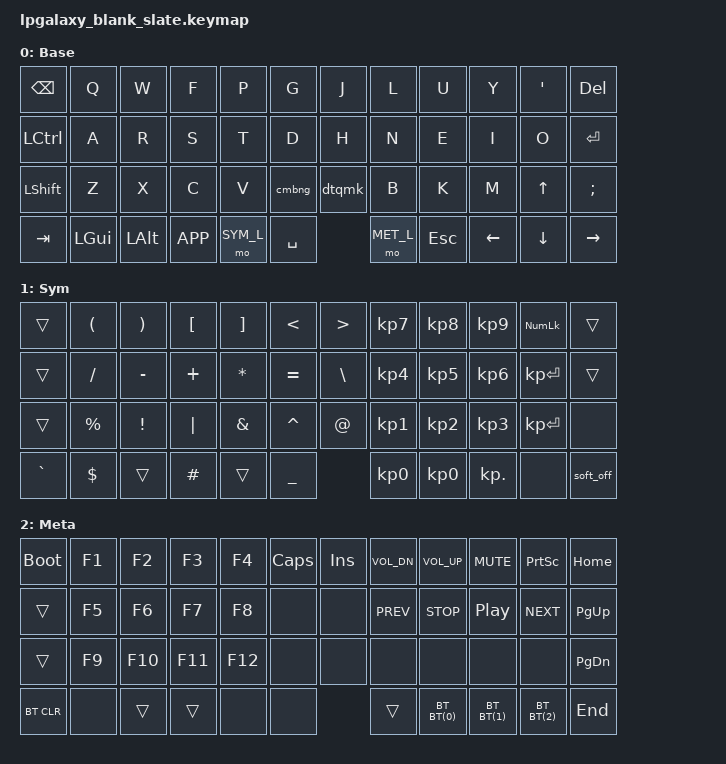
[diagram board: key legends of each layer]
/*
 * Copyright (c) 2022 Pete Johanson
 *
 * SPDX-License-Identifier: MIT
 */
#include <behaviors.dtsi>
#include <dt-bindings/zmk/keys.h>
#include <dt-bindings/zmk/bt.h>
#include <dt-bindings/zmk/outputs.h>
#define SYM_L 1
#define MET_L 2
#define BT(n) BT_SEL n
/ {
    behaviors {
        cmbng: comma_bang {
            compatible = "zmk,behavior-mod-morph";
            #binding-cells = <0>;
            bindings = <&kp COMMA>, <&kp EXCL>;
            mods = <(MOD_LSFT)>;
        };
        dtqmk: dot_question {
            compatible = "zmk,behavior-mod-morph";
            #binding-cells = <0>;
            bindings = <&kp DOT>, <&kp QMARK>;
            mods = <(MOD_LSFT)>;
        };
    };
    chosen {
       zmk,physical-layout = &layout_ortho_4x12_1x2u;
    };
    keymap {
        compatible = "zmk,keymap";
        base_layer {
            label = "Base";
            bindings = <
 &kp BSPC  &kp Q    &kp W    &kp F     &kp P      &kp G      &kp J     &kp L     &kp U   &kp Y      &kp SQT       &kp DEL
 &kp LCTRL &kp A    &kp R    &kp S     &kp T      &kp D      &kp H     &kp N     &kp E   &kp I      &kp O         &kp RET
 &kp LSHFT &kp Z    &kp X    &kp C     &kp V      &cmbng     &dtqmk    &kp B     &kp K   &kp M      &kp UP        &kp SEMI
 &kp TAB   &kp LGUI &kp LALT &kp K_APP &mo SYM_L       &kp SPACE       &mo MET_L &kp ESC &kp LEFT   &kp DOWN      &kp RIGHT
            >;
        };
        sym_layer {
            label = "Sym";
            bindings = <
&trans    &kp LPAR  &kp RPAR  &kp LBKT &kp RBKT &kp LT    &kp GT   &kp KP_N7 &kp KP_N8 &kp KP_N9  &kp KP_NUM   &trans
&trans    &kp FSLH  &kp MINUS &kp PLUS &kp STAR &kp EQUAL &kp BSLH &kp KP_N4 &kp KP_N5 &kp KP_N6  &kp KP_ENTER &trans
&trans    &kp PRCNT &kp EXCL  &kp PIPE &kp AMPS &kp CARET &kp AT   &kp KP_N1 &kp KP_N2 &kp KP_N3  &kp KP_ENTER &none
&kp GRAVE &kp DLLR  &trans    &kp HASH &trans        &kp UNDER     &kp KP_N0 &kp KP_N0 &kp KP_DOT &none        &soft_off
            >;
         };
        meta_layer {
            label = "Meta";
            bindings = <
&bootloader &kp F1    &kp F2    &kp F3    &kp F4    &kp CAPS  &kp INS     &kp C_VOL_DN    &kp C_VOL_UP  &kp C_MUTE  &kp PSCRN   &kp HOME
&trans      &kp F5    &kp F6    &kp F7    &kp F8    &none     &none       &kp C_PREV      &kp C_STOP    &kp C_PP    &kp C_NEXT  &kp PG_UP
&trans      &kp F9    &kp F10   &kp F11   &kp F12   &none     &none       &none           &none         &none       &none       &kp PG_DN
&bt BT_CLR  &none     &trans    &trans    &none           &none           &trans          &bt BT(0)     &bt BT(1)   &bt BT(2)   &kp END
            >;
        };
    };
};
